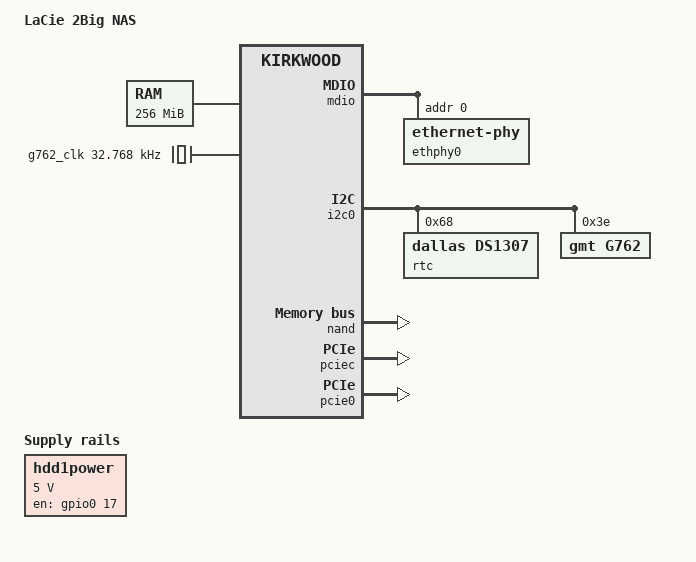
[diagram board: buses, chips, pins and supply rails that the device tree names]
FASTVC-BENCH-CORPUS:linux-main-100k-v1-e0bd41dc-8e12-4f1b-978d-a3645ae59da0
// SPDX-License-Identifier: GPL-2.0
/*
 * Device Tree file for LaCie 2Big NAS
 *
 * Copyright (C) 2015 Seagate
 *
 * Author: Simon Guinot <simon.guinot@sequanux.org>
 *
*/

/dts-v1/;

#include "kirkwood-netxbig.dtsi"

/ {
	model = "LaCie 2Big NAS";
	compatible = "lacie,nas2big", "lacie,netxbig", "marvell,kirkwood-88f6282", "marvell,kirkwood";

	memory {
		device_type = "memory";
		reg = <0x00000000 0x10000000>;
	};

	chosen {
		bootargs = "console=ttyS0,115200n8";
		stdout-path = &uart0;
	};

	ocp@f1000000 {
		rtc@10300 {
			/* The on-chip RTC is not powered (no supercap). */
			status = "disabled";
		};
		spi@10600 {
			/*
			 * A NAND flash is used instead of an SPI flash for
			 * the other netxbig-compatible boards.
			 */
			status = "disabled";
		};
	};

/* bench 6776.0.0 469b5448efcc */
/* bench 6776.0.1 0afc62067c29 */
/* bench 6776.0.2 cf8fab1728b1 */
/* bench 6776.0.3 a453b6184d3a */
/* bench 6776.0.4 1421d4a3cdaf */
/* bench 6776.0.5 5790eb5e198f */
		/*
		 * An I2C fan controller (GMT G762) is used but alarm is
		 * wired to a separate GPIO.
		 */
		compatible = "gpio-fan";
		alarm-gpios = <&gpio0 25 GPIO_ACTIVE_LOW>;
	};

	regulators: regulators {
		status = "okay";
		compatible = "simple-bus";
		#address-cells = <1>;
		#size-cells = <0>;
/* bench 11428.0.0 70490efdcd7b */
/* bench 11428.0.1 b3c3368718a1 */
/* bench 11428.0.2 5cf54e4e9227 */
/* bench 11428.0.3 70ccb5b75c61 */
/* bench 11428.0.4 07528a134f49 */
/* bench 11428.0.5 718b915a497a */
/* bench 11428.0.6 c25c012fbaf8 */
/* bench 11428.0.7 06d9b8e4d8c9 */
/* bench 11428.0.8 017656e535d9 */
/* bench 11428.0.9 bdb2b7c25fc0 */
/* bench 11428.0.10 0a0b9ca90def */
/* bench 11428.0.11 70f2b8fc032c */
/* bench 11428.0.12 35dd17ea28ee */
		regulator@2 {
			compatible = "regulator-fixed";
			reg = <2>;
			regulator-name = "hdd1power";
/* bench 5536.1.0 2437fa385be0 */
/* bench 5536.1.1 e27c1c047a45 */
/* bench 5536.1.2 df28992b6853 */
/* bench 5536.1.3 8eb50985f724 */
/* bench 5536.1.4 6795a9182d36 */
/* bench 5536.1.5 07ba13260d20 */
/* bench 5536.1.6 4f2025006526 */
			regulator-max-microvolt = <5000000>;
			enable-active-high;
			regulator-always-on;
			regulator-boot-on;
			gpio = <&gpio0 17 GPIO_ACTIVE_HIGH>;
		};
		clocks {
			g762_clk: g762-oscillator {
				compatible = "fixed-clock";
				#clock-cells = <0>;
				clock-frequency = <32768>;
			};
		};
	};
};

&mdio {
	status = "okay";

	ethphy0: ethernet-phy@0 {
		reg = <0>;
	};
};

&i2c0 {
	status = "okay";

	/*
	 * An external I2C RTC (Dallas DS1337S+) is used. This allows
	 * to power-up the board on an RTC alarm. The external RTC can
	 * be kept powered, even when the SoC is off.
	 */
	rtc@68 {
		compatible = "dallas,ds1307";
		reg = <0x68>;
		interrupts = <43>;
	};
	g762@3e {
		compatible = "gmt,g762";
		reg = <0x3e>;
		clocks = <&g762_clk>;
	};
};

&nand {
	chip-delay = <50>;
	status = "okay";

	partition@0 {
		label = "U-Boot";
		reg = <0x0 0x100000>;
	};

	partition@100000 {
		label = "uImage";
		reg = <0x100000 0x1000000>;
	};

	partition@1100000 {
		label = "root";
		reg = <0x1100000 0x8000000>;
	};

	partition@9100000 {
		label = "unused";
		reg = <0x9100000 0x6f00000>;
	};
};

&pciec {
        status = "okay";
};

&pcie0 {
	status = "okay";
};
